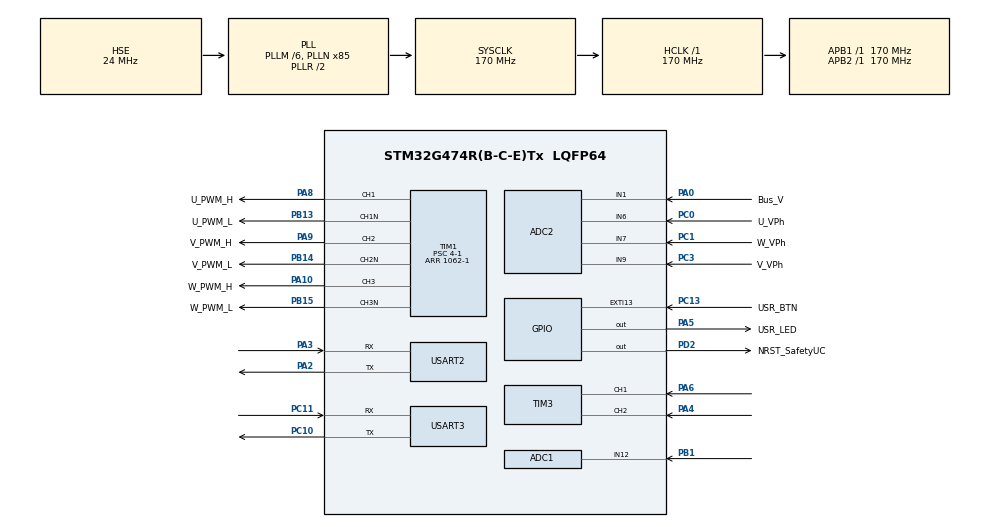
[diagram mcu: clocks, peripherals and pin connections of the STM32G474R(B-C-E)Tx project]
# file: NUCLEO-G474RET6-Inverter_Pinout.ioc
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ADC1.Channel-0\#ChannelRegularConversion=ADC_CHANNEL_12
ADC1.ExternalTrigConv=ADC_EXTERNALTRIG_T1_TRGO
ADC1.NbrOfConversionFlag=1
ADC1.OffsetNumber-0\#ChannelRegularConversion=ADC_OFFSET_NONE
ADC1.Rank-0\#ChannelRegularConversion=1
ADC1.SamplingTime-0\#ChannelRegularConversion=ADC_SAMPLETIME_2CYCLES_5
ADC1.master=1
ADC2.Channel-0\#ChannelRegularConversion=ADC_CHANNEL_6
ADC2.NbrOfConversionFlag=1
ADC2.OffsetNumber-0\#ChannelRegularConversion=ADC_OFFSET_NONE
ADC2.Rank-0\#ChannelRegularConversion=1
ADC2.SamplingTime-0\#ChannelRegularConversion=ADC_SAMPLETIME_2CYCLES_5
Mcu.Family=STM32G4
Mcu.Name=STM32G474R(B-C-E)Tx
Mcu.Package=LQFP64
NVIC.ADC1_2_IRQn=true\:0\:0\:false\:false\:true\:true\:true\:true
NVIC.EXTI15_10_IRQn=true\:0\:0\:false\:false\:true\:true\:true\:true
NVIC.PriorityGroup=NVIC_PRIORITYGROUP_4
NVIC.TIM1_UP_TIM16_IRQn=true\:0\:0\:false\:false\:true\:true\:true\:true
NVIC.TIM2_IRQn=true\:0\:0\:false\:false\:true\:true\:true\:true
NVIC.TIM6_DAC_IRQn=true\:15\:0\:false\:false\:true\:false\:true\:true
NVIC.TimeBase=TIM6_DAC_IRQn
NVIC.TimeBaseIP=TIM6
NVIC.USART2_IRQn=true\:0\:0\:false\:false\:true\:true\:true\:true
NVIC.USART3_IRQn=true\:0\:0\:false\:false\:true\:true\:true\:true
PA0.GPIO_Label=Bus_V
PA0.Mode=IN1-Single-Ended
PA0.Signal=ADC2_IN1
PA1.GPIO_Label=U_Imes
PA1.Signal=ADC1_IN2
PA10.GPIO_Label=W_PWM_H
PA10.Signal=S_TIM1_CH3
PA13.GPIO_Label=T_SWDIO
PA13.Mode=Trace_Asynchronous_SW
PA13.Signal=SYS_JTMS-SWDIO
PA14.GPIO_Label=T_SWCLK
PA14.Mode=Trace_Asynchronous_SW
PA14.Signal=SYS_JTCK-SWCLK
PA2.Mode=Asynchronous
PA2.Signal=USART2_TX
PA3.Mode=Asynchronous
PA3.Signal=USART2_RX
PA4.Signal=S_TIM3_CH2
PA5.GPIO_Label=USR_LED
PA5.Signal=GPIO_Output
PA6.Signal=S_TIM3_CH1
PA8.GPIO_Label=U_PWM_H
PA8.Signal=S_TIM1_CH1
PA9.GPIO_Label=V_PWM_H
PA9.Signal=S_TIM1_CH2
PB0.Signal=ADC1_IN15
PB1.Mode=IN12-Single-Ended
PB1.Signal=ADC1_IN12
PB13.GPIO_Label=U_PWM_L
PB13.Mode=PWM Generation1 CH1 CH1N
PB13.Signal=TIM1_CH1N
PB14.GPIO_Label=V_PWM_L
PB14.Mode=PWM Generation2 CH2 CH2N
PB14.Signal=TIM1_CH2N
PB15.GPIO_Label=W_PWM_L
PB15.Mode=PWM Generation3 CH3 CH3N
PB15.Signal=TIM1_CH3N
PB3.GPIO_Label=T_SWO
PB3.Mode=Trace_Asynchronous_SW
PB3.Signal=SYS_JTDO-SWO
PC0.GPIO_Label=U_VPh
PC0.Mode=IN6-Single-Ended
PC0.Signal=ADC2_IN6
PC1.GPIO_Label=W_VPh
PC1.Mode=IN7-Single-Ended
PC1.Signal=ADC2_IN7
PC10.Mode=Asynchronous
PC10.Signal=USART3_TX
PC11.Mode=Asynchronous
PC11.Signal=USART3_RX
PC13.GPIO_Label=USR_BTN
PC13.Signal=GPXTI13
PC14-OSC32_IN.Mode=LSE-External-Oscillator
PC14-OSC32_IN.Signal=RCC_OSC32_IN
PC15-OSC32_OUT.Mode=LSE-External-Oscillator
PC15-OSC32_OUT.Signal=RCC_OSC32_OUT
PC2.GPIO_Label=Bus_Imes
PC2.Signal=ADC1_IN8
PC3.GPIO_Label=V_VPh
PC3.Mode=IN9-Single-Ended
PC3.Signal=ADC2_IN9
PC8.Signal=S_TIM3_CH3
PD2.GPIO_Label=NRST_SafetyUC
PD2.Signal=GPIO_Output
PF0-OSC_IN.Mode=HSE-External-Oscillator
PF0-OSC_IN.Signal=RCC_OSC_IN
PF1-OSC_OUT.Mode=HSE-External-Oscillator
PF1-OSC_OUT.Signal=RCC_OSC_OUT
ProjectManager.HeapSize=0x200
ProjectManager.StackSize=0x400
ProjectManager.TargetToolchain=STM32CubeIDE
RCC.ADC12Freq_Value=170000000
RCC.ADC345Freq_Value=170000000
RCC.AHBFreq_Value=170000000
RCC.APB1Freq_Value=170000000
RCC.APB1TimFreq_Value=170000000
RCC.APB2Freq_Value=170000000
RCC.APB2TimFreq_Value=170000000
RCC.CortexFreq_Value=170000000
RCC.EXTERNAL_CLOCK_VALUE=12288000
RCC.HCLKFreq_Value=170000000
RCC.HSE_VALUE=24000000
RCC.HSI48_VALUE=48000000
RCC.HSI_VALUE=16000000
RCC.PLLM=RCC_PLLM_DIV6
RCC.PLLN=85
RCC.PLLSourceVirtual=RCC_PLLSOURCE_HSE
RCC.RTCClockSelection=RCC_RTCCLKSOURCE_LSE
RCC.SYSCLKFreq_VALUE=170000000
RCC.SYSCLKSource=RCC_SYSCLKSOURCE_PLLCLK
RCC.USBFreq_Value=170000000
RCC.VCOOutputFreq_Value=340000000
SH.S_TIM1_CH1.0=TIM1_CH1,PWM Generation1 CH1 CH1N
SH.S_TIM1_CH2.0=TIM1_CH2,PWM Generation2 CH2 CH2N
SH.S_TIM1_CH3.0=TIM1_CH3,PWM Generation3 CH3 CH3N
SH.S_TIM3_CH1.0=TIM3_CH1,Encoder_Interface
SH.S_TIM3_CH2.0=TIM3_CH2,Encoder_Interface
SH.S_TIM3_CH3.0=TIM3_CH3
TIM1.AutoReloadPreload=TIM_AUTORELOAD_PRELOAD_ENABLE
TIM1.Channel-PWM\ Generation1\ CH1\ CH1N=TIM_CHANNEL_1
TIM1.Channel-PWM\ Generation2\ CH2\ CH2N=TIM_CHANNEL_2
TIM1.Channel-PWM\ Generation3\ CH3\ CH3N=TIM_CHANNEL_3
TIM1.CounterMode=TIM_COUNTERMODE_CENTERALIGNED1
TIM1.DeadTime=35-1
TIM1.DeadTimePreload=ENABLE
TIM1.PeriodNoDither=1062-1
TIM1.Prescaler=4-1
TIM1.TIM_MasterOutputTrigger=TIM_TRGO_UPDATE
TIM2.PeriodNoDither=10000-1
TIM2.Prescaler=170-1
TIM3.EncoderMode=TIM_ENCODERMODE_TI12
USART2.VirtualMode-Asynchronous=VM_ASYNC
USART3.VirtualMode-Asynchronous=VM_ASYNC
VP_SYS_VS_DBSignals.Mode=DisableDeadBatterySignals
VP_SYS_VS_tim6.Mode=TIM6
VP_TIM1_VS_ClockSourceINT.Mode=Internal
VP_TIM2_VS_ClockSourceINT.Mode=Internal
board=NUCLEO-G474RE

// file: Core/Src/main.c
/* USER CODE BEGIN Header */
/**
 ******************************************************************************
 * @file           : main.c
 * @brief          : Main program body
 ******************************************************************************
 * @attention
 *
 * Copyright (c) 2023 STMicroelectronics.
 * All rights reserved.
 *
 * This software is licensed under terms that can be found in the LICENSE file
 * in the root directory of this software component.
 * If no LICENSE file comes with this software, it is provided AS-IS.
 *
 ******************************************************************************
 */
/* USER CODE END Header */
#include "main.h"
#include "adc.h"
#include "tim.h"
#include "usart.h"
#include "gpio.h"

/* USER CODE BEGIN Includes */
#include "mylibs/shell.h"
#include "stdio.h"
#include "mylibs/asserv.h"
/* USER CODE END Includes */

/* USER CODE BEGIN PD */
#define ENCODER_FREQ 100		//Fréquence d'echantillonage de l'encodeur.
#define MIDDLE_INT32 32768		// Valeur centrale pour un entier 32 bits
/* USER CODE END PD */

/* USER CODE BEGIN PV */
float adcValue = 0;							// Valeur analogique convertie de l'ADC
int32_t encoder_count = MIDDLE_INT32-1;		// Compteur de l'encodeur
float motor_speed = 0;						// Vitesse du moteur
h_asserv_t asserv_speed;					// Structure pour l'asservissement de vitesse
h_asserv_t asserv_current;					// Structure pour l'asservissement de courant
uint8_t current_flag=0, speed_flag=0, begin = 0;	//Flags permettants de déclencher certaines actions dans la boucle while du user code
													//begin pour l'activation de l'asservissement en courant
/* USER CODE END PV */

void SystemClock_Config(void);
/* USER CODE BEGIN PFP */

// Fonction pour rediriger la sortie du printf vers l'UART2
int _write(int file, char *ptr, int len) {
	int DataIdx;

	for (DataIdx = 0; DataIdx < len; DataIdx++) {
		HAL_UART_Transmit(&huart2, (uint8_t *) ptr++, 1, HAL_MAX_DELAY);
	}
	return len;
}

// Fonction de rappel appelée lorsqu'une conversion ADC est terminée
void HAL_ADC_ConvCpltCallback(ADC_HandleTypeDef *hadc)
{
	if(hadc->Instance == ADC1){
		adcValue = (float) HAL_ADC_GetValue(hadc);
		adcValue = (adcValue*3300)/4096;//val en mV
		adcValue -= 1650;
		adcValue = - (adcValue/50); //On regarde la phase V donc par defaut le courant est negatif
		current_flag = 1;
	}
}

/* USER CODE END PFP */

int main(void)
{

  /* MCU Configuration--------------------------------------------------------*/

  /* Reset of all peripherals, Initializes the Flash interface and the Systick. */
  HAL_Init();

  /* Configure the system clock */
  SystemClock_Config();

  /* Initialize all configured peripherals */
  MX_GPIO_Init();
  MX_ADC2_Init();
  MX_ADC1_Init();
  MX_TIM1_Init();
  MX_TIM3_Init();
  MX_USART2_UART_Init();
  MX_USART3_UART_Init();
  MX_TIM2_Init();
  /* USER CODE BEGIN 2 */
	Shell_Init();
	HAL_ADCEx_Calibration_Start(&hadc1, ADC_SINGLE_ENDED);
	HAL_ADC_Start_IT(&hadc1);
	HAL_TIM_Base_Start_IT(&htim2);
	HAL_TIM_Base_Start(&htim3);
	asserv_speed_init();
	asserv_current_init();
  /* USER CODE END 2 */

  /* Infinite loop */
  /* USER CODE BEGIN WHILE */
	while (1)
	{
		if(speed_flag > 0){
			speed_flag = 0;
		}
		if(current_flag > 0 && (begin == 1)){
			current_flag = 0;

			pid_asserv();	// Appel de la fonction d'asservissement
		}
		motor_speed = ((((float) encoder_count)*ENCODER_FREQ)/4096)*60;
		//motor_speed = (float) encoder_count;
		Shell_Loop();
    /* USER CODE END WHILE */

	}
}

void SystemClock_Config(void)
{
  RCC_OscInitTypeDef RCC_OscInitStruct = {0};
  RCC_ClkInitTypeDef RCC_ClkInitStruct = {0};

  /** Configure the main internal regulator output voltage
  */
  HAL_PWREx_ControlVoltageScaling(PWR_REGULATOR_VOLTAGE_SCALE1_BOOST);

  /** Initializes the RCC Oscillators according to the specified parameters
  * in the RCC_OscInitTypeDef structure.
  */
  RCC_OscInitStruct.OscillatorType = RCC_OSCILLATORTYPE_HSE;
  RCC_OscInitStruct.HSEState = RCC_HSE_ON;
  RCC_OscInitStruct.PLL.PLLState = RCC_PLL_ON;
  RCC_OscInitStruct.PLL.PLLSource = RCC_PLLSOURCE_HSE;
  RCC_OscInitStruct.PLL.PLLM = RCC_PLLM_DIV6;
  RCC_OscInitStruct.PLL.PLLN = 85;
  RCC_OscInitStruct.PLL.PLLP = RCC_PLLP_DIV2;
  RCC_OscInitStruct.PLL.PLLQ = RCC_PLLQ_DIV2;
  RCC_OscInitStruct.PLL.PLLR = RCC_PLLR_DIV2;
  if (HAL_RCC_OscConfig(&RCC_OscInitStruct) != HAL_OK)
  {
    Error_Handler();
  }

  /** Initializes the CPU, AHB and APB buses clocks
  */
  RCC_ClkInitStruct.ClockType = RCC_CLOCKTYPE_HCLK|RCC_CLOCKTYPE_SYSCLK
                              |RCC_CLOCKTYPE_PCLK1|RCC_CLOCKTYPE_PCLK2;
  RCC_ClkInitStruct.SYSCLKSource = RCC_SYSCLKSOURCE_PLLCLK;
  RCC_ClkInitStruct.AHBCLKDivider = RCC_SYSCLK_DIV1;
  RCC_ClkInitStruct.APB1CLKDivider = RCC_HCLK_DIV1;
  RCC_ClkInitStruct.APB2CLKDivider = RCC_HCLK_DIV1;

  if (HAL_RCC_ClockConfig(&RCC_ClkInitStruct, FLASH_LATENCY_4) != HAL_OK)
  {
    Error_Handler();
  }
}

void HAL_TIM_PeriodElapsedCallback(TIM_HandleTypeDef *htim)
{
  /* USER CODE BEGIN Callback 0 */
	// Vérification si l'interruption est déclenchée par TIM2 (encodeur)
	if(htim->Instance == TIM2){
		// Mise à jour du compteur de l'encodeur
		encoder_count = (int32_t) ((int64_t) htim3.Instance->CNT - (int64_t)MIDDLE_INT32);
		// Réinitialisation du compteur du TIM3 pour le contrôle de l'encodeur
		htim3.Instance->CNT = MIDDLE_INT32;
		// Activation du flag de vitesse pour signaler les nouvelles données de vitesse
		speed_flag = 1;
	}
  /* USER CODE END Callback 0 */
  if (htim->Instance == TIM6) {
    HAL_IncTick();
  }
}

void Error_Handler(void)
{
	__disable_irq();
	while (1)
	{
	}
}
